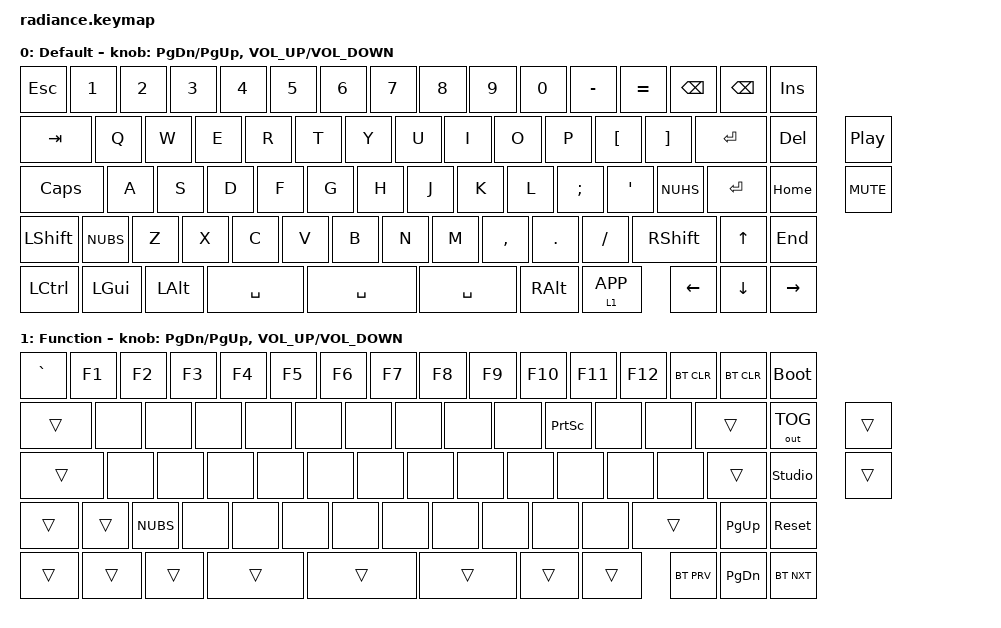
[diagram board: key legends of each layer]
#include <behaviors.dtsi>
#include <dt-bindings/zmk/keys.h>
#include <dt-bindings/zmk/bt.h>
#include <dt-bindings/zmk/outputs.h>

// ISO-DE layout: keycodes are positional (US names), set the OS keyboard layout to German.
// e.g. &kp Y sends "Z", &kp MINUS sends "ß", &kp NUHS sends "#", &kp NUBS sends "<".

/ {
    sensors: sensors {
        compatible = "zmk,keymap-sensors";
        sensors = <&encoder_1 &encoder_2>;
        triggers-per-rotation = <20>;
    };

    default_layer {
        compatible = "zmk,keymap";

        0 {
            display-name = "Default";

            sensor-bindings = <&inc_dec_kp PAGE_DOWN PAGE_UP &inc_dec_kp C_VOLUME_UP C_VOLUME_DOWN>;

            //  Esc  1  2  3  4  5  6  7  8  9  0  ß  ´  Bksp Bksp Ins
            //  Tab  Q  W  E  R  T  Z  U  I  O  P  Ü  +  Enter Del  Enc1
            //  Caps A  S  D  F  G  H  J  K  L  Ö  Ä  #  Enter Home Enc2
            //  Shft (<>) Y X  C  V  B  N  M  ,  .  -  Shift Up  End
            //  Ctrl Win Alt   Space Space Space   AltGr Menu/Fn Left Down Right
            bindings = <
            &kp ESC   &kp N1    &kp N2    &kp N3    &kp N4    &kp N5    &kp N6    &kp N7    &kp N8  &kp N9    &kp N0    &kp MINUS &kp EQUAL &kp BSPC &kp BSPC    &kp INS
            &kp TAB   &kp Q     &kp W     &kp E     &kp R     &kp T     &kp Y     &kp U     &kp I   &kp O     &kp P     &kp LBKT  &kp RBKT  &kp RET  &kp DEL     &kp C_PLAY_PAUSE
            &kp CAPS  &kp A     &kp S     &kp D     &kp F     &kp G     &kp H     &kp J     &kp K   &kp L     &kp SEMI  &kp SQT   &kp NUHS  &kp RET  &kp HOME    &kp C_MUTE
            &kp LSHFT &kp NUBS  &kp Z     &kp X     &kp C     &kp V     &kp B     &kp N     &kp M   &kp COMMA &kp DOT   &kp FSLH  &kp RSHFT &kp UP   &kp END
            &kp LCTRL &kp LGUI  &kp LALT            &kp SPACE           &kp SPACE           &kp SPACE         &kp RALT  &lt 1 K_APP &kp LEFT &kp DOWN &kp RIGHT
            >;
        };

        fn_layer {
            display-name = "Function";

            sensor-bindings = <&inc_dec_kp PAGE_DOWN PAGE_UP &inc_dec_kp C_VOLUME_UP C_VOLUME_DOWN>;

            // Fn+Esc = ^ (GRAVE), Fn+Y = < (Shift: >, AltGr: |) since the board has no <> key
            bindings = <
            &kp GRAVE &kp F1    &kp F2    &kp F3    &kp F4    &kp F5    &kp F6    &kp F7    &kp F8  &kp F9    &kp F10   &kp F11   &kp F12   &bt BT_CLR &bt BT_CLR &bootloader
            &trans    &none     &none     &none     &none     &none     &none     &none     &none   &none     &kp PSCRN &none     &none     &trans   &out OUT_TOG &trans
            &trans    &none     &none     &none     &none     &none     &none     &none     &none   &none     &none     &none     &none     &trans   &studio_unlock &trans
            &trans    &trans    &kp NUBS  &none     &none     &none     &none     &none     &none   &none     &none     &none     &trans    &kp PG_UP &sys_reset
            &trans    &trans    &trans              &trans              &trans              &trans            &trans    &trans    &bt BT_PRV &kp PG_DN &bt BT_NXT
            >;
        };
    };
};
